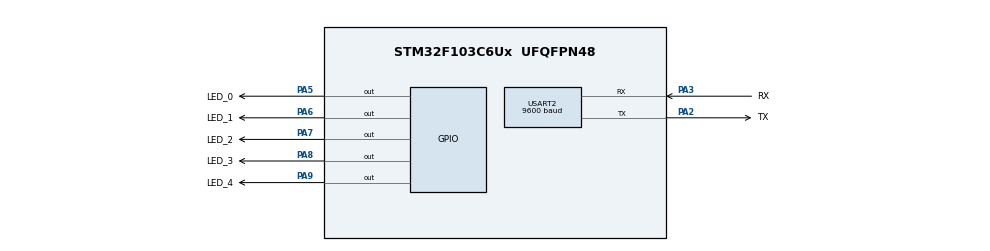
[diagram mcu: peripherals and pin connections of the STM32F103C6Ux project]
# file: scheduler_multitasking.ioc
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Mcu.Family=STM32F1
Mcu.Name=STM32F103C6Ux
Mcu.Package=UFQFPN48
NVIC.PriorityGroup=NVIC_PRIORITYGROUP_4
NVIC.TIM2_IRQn=true\:0\:0\:false\:false\:true\:true\:true
NVIC.USART2_IRQn=true\:0\:0\:false\:false\:true\:true\:true
PA2.GPIO_Label=TX
PA2.Mode=Asynchronous
PA2.Signal=USART2_TX
PA3.GPIO_Label=RX
PA3.Mode=Asynchronous
PA3.Signal=USART2_RX
PA5.GPIO_Label=LED_0
PA5.Signal=GPIO_Output
PA6.GPIO_Label=LED_1
PA6.Signal=GPIO_Output
PA7.GPIO_Label=LED_2
PA7.Signal=GPIO_Output
PA8.GPIO_Label=LED_3
PA8.Signal=GPIO_Output
PA9.GPIO_Label=LED_4
PA9.Signal=GPIO_Output
ProjectManager.HeapSize=0x200
ProjectManager.StackSize=0x400
ProjectManager.TargetToolchain=STM32CubeIDE
RCC.APB1Freq_Value=8000000
RCC.APB2Freq_Value=8000000
TIM2.Period=10
TIM2.Prescaler=7999
USART2.BaudRate=9600
USART2.VirtualMode=VM_ASYNC
VP_SYS_VS_ND.Mode=No_Debug
VP_TIM2_VS_ClockSourceINT.Mode=Internal
board=custom

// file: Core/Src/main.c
/* USER CODE BEGIN Header */
/**
  ******************************************************************************
  * @file           : main.c
  * @brief          : Main program body
  ******************************************************************************
  * @attention
  *
  * <h2><center>&copy; Copyright (c) 2022 STMicroelectronics.
  * All rights reserved.</center></h2>
  *
  * This software component is licensed by ST under BSD 3-Clause license,
  * the "License"; You may not use this file except in compliance with the
  * License. You may obtain a copy of the License at:
  *                        opensource.org/licenses/BSD-3-Clause
  *
  ******************************************************************************
  */
/* USER CODE END Header */
#include "main.h"

/* USER CODE BEGIN Includes */
#include <stdint.h>
#include "global.h"
/* USER CODE END Includes */

TIM_HandleTypeDef htim2;

//UART_HandleTypeDef huart2;

void SystemClock_Config(void);
static void MX_GPIO_Init(void);
static void MX_TIM2_Init(void);
static void MX_USART2_UART_Init(void);

/* USER CODE BEGIN 0 */
void HAL_UART_RxCpltCallback(UART_HandleTypeDef *huart) {
	if (huart->Instance == USART2) {
		uart_init();
	}
}

void toggle_led(uint32_t led_index);
/* USER CODE END 0 */

int main(void)
{

  /* MCU Configuration--------------------------------------------------------*/

  /* Reset of all peripherals, Initializes the Flash interface and the Systick. */
  HAL_Init();

  /* Configure the system clock */
  SystemClock_Config();

  /* Initialize all configured peripherals */
  MX_GPIO_Init();
  MX_TIM2_Init();
  MX_USART2_UART_Init();
  /* USER CODE BEGIN 2 */
  HAL_TIM_Base_Start_IT(&htim2);
  SCH_Init();
  /* USER CODE END 2 */

  /* Infinite loop */
  /* USER CODE BEGIN WHILE */
  uart_init();
  SCH_Add_Task(toggle_led, 0, 500, 500);
  SCH_Add_Task(toggle_led, 1, 500, 1000);
  SCH_Add_Task(toggle_led, 2, 500, 1500);
  SCH_Add_Task(toggle_led, 3, 500, 2000);
  SCH_Add_Task(toggle_led, 4, 2500, 0);
  while (1)
  {
    /* USER CODE END WHILE */

    /* USER CODE BEGIN 3 */
	  SCH_Dispatch_Tasks();
  }
  /* USER CODE END 3 */
}

void SystemClock_Config(void)
{
  RCC_OscInitTypeDef RCC_OscInitStruct = {0};
  RCC_ClkInitTypeDef RCC_ClkInitStruct = {0};

  /** Initializes the RCC Oscillators according to the specified parameters
  * in the RCC_OscInitTypeDef structure.
  */
  RCC_OscInitStruct.OscillatorType = RCC_OSCILLATORTYPE_HSI;
  RCC_OscInitStruct.HSIState = RCC_HSI_ON;
  RCC_OscInitStruct.HSICalibrationValue = RCC_HSICALIBRATION_DEFAULT;
  RCC_OscInitStruct.PLL.PLLState = RCC_PLL_NONE;
  if (HAL_RCC_OscConfig(&RCC_OscInitStruct) != HAL_OK)
  {
    Error_Handler();
  }
  /** Initializes the CPU, AHB and APB buses clocks
  */
  RCC_ClkInitStruct.ClockType = RCC_CLOCKTYPE_HCLK|RCC_CLOCKTYPE_SYSCLK
                              |RCC_CLOCKTYPE_PCLK1|RCC_CLOCKTYPE_PCLK2;
  RCC_ClkInitStruct.SYSCLKSource = RCC_SYSCLKSOURCE_HSI;
  RCC_ClkInitStruct.AHBCLKDivider = RCC_SYSCLK_DIV1;
  RCC_ClkInitStruct.APB1CLKDivider = RCC_HCLK_DIV1;
  RCC_ClkInitStruct.APB2CLKDivider = RCC_HCLK_DIV1;

  if (HAL_RCC_ClockConfig(&RCC_ClkInitStruct, FLASH_LATENCY_0) != HAL_OK)
  {
    Error_Handler();
  }
}

static void MX_TIM2_Init(void)
{

  TIM_ClockConfigTypeDef sClockSourceConfig = {0};
  TIM_MasterConfigTypeDef sMasterConfig = {0};

  htim2.Instance = TIM2;
  htim2.Init.Prescaler = 7999;
  htim2.Init.CounterMode = TIM_COUNTERMODE_UP;
  htim2.Init.Period = 10;
  htim2.Init.ClockDivision = TIM_CLOCKDIVISION_DIV1;
  htim2.Init.AutoReloadPreload = TIM_AUTORELOAD_PRELOAD_DISABLE;
  if (HAL_TIM_Base_Init(&htim2) != HAL_OK)
  {
    Error_Handler();
  }
  sClockSourceConfig.ClockSource = TIM_CLOCKSOURCE_INTERNAL;
  if (HAL_TIM_ConfigClockSource(&htim2, &sClockSourceConfig) != HAL_OK)
  {
    Error_Handler();
  }
  sMasterConfig.MasterOutputTrigger = TIM_TRGO_RESET;
  sMasterConfig.MasterSlaveMode = TIM_MASTERSLAVEMODE_DISABLE;
  if (HAL_TIMEx_MasterConfigSynchronization(&htim2, &sMasterConfig) != HAL_OK)
  {
    Error_Handler();
  }

}

static void MX_USART2_UART_Init(void)
{

  huart2.Instance = USART2;
  huart2.Init.BaudRate = 57600;
  huart2.Init.WordLength = UART_WORDLENGTH_8B;
  huart2.Init.StopBits = UART_STOPBITS_1;
  huart2.Init.Parity = UART_PARITY_NONE;
  huart2.Init.Mode = UART_MODE_TX_RX;
  huart2.Init.HwFlowCtl = UART_HWCONTROL_NONE;
  huart2.Init.OverSampling = UART_OVERSAMPLING_16;
  if (HAL_UART_Init(&huart2) != HAL_OK)
  {
    Error_Handler();
  }

}

static void MX_GPIO_Init(void)
{
  GPIO_InitTypeDef GPIO_InitStruct = {0};

  /* GPIO Ports Clock Enable */
  __HAL_RCC_GPIOA_CLK_ENABLE();

  /*Configure GPIO pin Output Level */
  HAL_GPIO_WritePin(GPIOA, LED_0_Pin|LED_1_Pin|LED_2_Pin|LED_3_Pin
                          |LED_4_Pin, GPIO_PIN_SET);

  /*Configure GPIO pins : LED_0_Pin LED_1_Pin LED_2_Pin LED_3_Pin
                           LED_4_Pin */
  GPIO_InitStruct.Pin = LED_0_Pin|LED_1_Pin|LED_2_Pin|LED_3_Pin
                          |LED_4_Pin;
  GPIO_InitStruct.Mode = GPIO_MODE_OUTPUT_PP;
  GPIO_InitStruct.Pull = GPIO_NOPULL;
  GPIO_InitStruct.Speed = GPIO_SPEED_FREQ_LOW;
  HAL_GPIO_Init(GPIOA, &GPIO_InitStruct);

}

/* USER CODE BEGIN 4 */
void HAL_TIM_PeriodElapsedCallback(TIM_HandleTypeDef *htim){
	SCH_Update();
}

void toggle_led(uint32_t led_index){
	switch (led_index){
	case 0:
		HAL_GPIO_TogglePin(GPIOA, LED_0_Pin);
		break;
	case 1:
		HAL_GPIO_TogglePin(GPIOA, LED_1_Pin);
		break;
	case 2:
		HAL_GPIO_TogglePin(GPIOA, LED_2_Pin);
		break;
	case 3:
		HAL_GPIO_TogglePin(GPIOA, LED_3_Pin);
		break;
	case 4:
		HAL_GPIO_TogglePin(GPIOA, LED_4_Pin);
		break;
	default:
		break;
	}
}
/* USER CODE END 4 */

void Error_Handler(void)
{
  __disable_irq();
  while (1)
  {
  }
}

/************************ (C) COPYRIGHT STMicroelectronics *****END OF FILE****/
